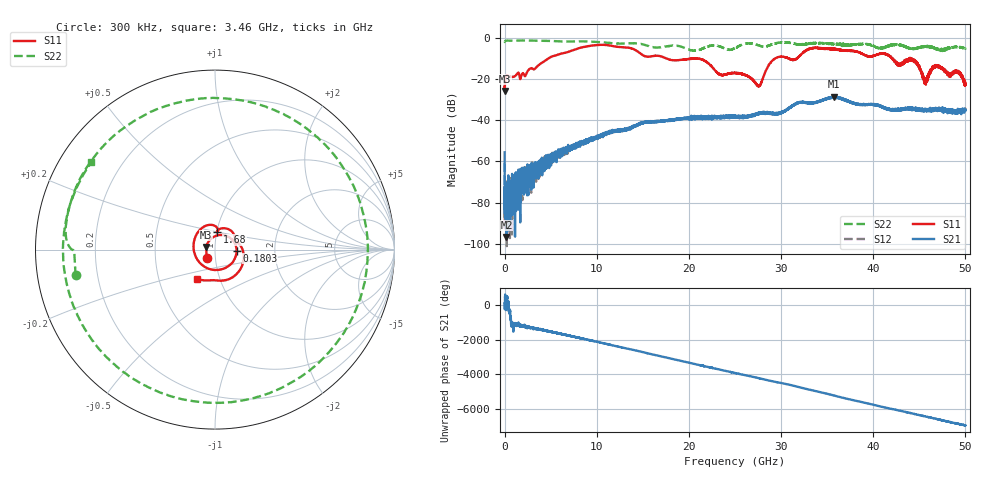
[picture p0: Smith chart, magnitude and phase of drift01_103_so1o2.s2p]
!Created with skrf (http://scikit-rf.org).
# Hz S RI R 50.0
!freq ReS11 ImS11 ReS21 ImS21 ReS12 ImS12 ReS22 ImS22
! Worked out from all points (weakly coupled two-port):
!   10001 points, 300 kHz to 50 GHz, reference 50 ohm
!   highest |S21| = -28.66 dB at 35.74 GHz (marker M1); lowest = -96.6 dB at 205.3 MHz (marker M2)
!   lowest |S11| = -25.8 dB at 5.3 MHz (marker M3), VSWR 1.11, Z = 45.3 + j1.37 ohm
!   |S11| at or under -10 dB: start of sweep to 4.769 GHz; 17.51 GHz to 29.38 GHz (11.87 GHz wide, 50.6 % of centre); 44.02 GHz to end of sweep (the widest 3 of 13)
!   |S22| runs from -6.5 to -1.4 dB; largest |S21 - S12| = 0.0036
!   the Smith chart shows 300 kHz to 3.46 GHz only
!   S11 on the Smith chart (normalised r, x): 300 kHz: 0.91, -0.08; 180.3 MHz: 1.27, -0.01; 1.68 GHz: 1.01, +0.20; 3.46 GHz: 0.77, -0.26
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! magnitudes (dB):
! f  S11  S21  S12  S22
! 300 kHz  -23.8  -55.6  -60.8  -2.1
! 5.3 MHz  -25.8  -82.8  -85.8  -2.1
! 180.3 MHz  -18.4  -84.1  -72.1  -1.4
! 205.3 MHz  -18.3  -96.6  -78.8  -1.4
! 715.3 MHz  -19.0  -76.3  -74.7  -1.5
! 1.68 GHz  -20.1  -66.9  -73.4  -1.4
! 3.46 GHz  -14.3  -66.0  -62.7  -1.5
! 8.335 GHz  -4.8  -50.5  -50.5  -1.8
! 16.67 GHz  -8.8  -40.4  -40.7  -4.8
! 21.22 GHz  -10.3  -39.1  -38.6  -5.8
! 25 GHz  -17.1  -38.7  -38.3  -5.1
! 27.59 GHz  -23.5  -36.8  -36.9  -3.8
! 29.28 GHz  -10.3  -36.9  -36.9  -2.8
! 31.47 GHz  -10.7  -32.4  -32.3  -2.9
! 33.34 GHz  -5.1  -31.6  -31.7  -2.6
! 35.74 GHz  -5.4  -28.7  -28.9  -3.0
! 41.67 GHz  -8.7  -34.5  -35.0  -4.3
! 42.74 GHz  -13.0  -34.9  -34.9  -3.3
! 44.44 GHz  -11.2  -34.3  -34.6  -5.2
! 45.63 GHz  -20.5  -35.1  -34.6  -4.4
! 46.96 GHz  -13.4  -35.6  -34.2  -5.6
! 50 GHz  -21.9  -35.1  -34.5  -5.3
